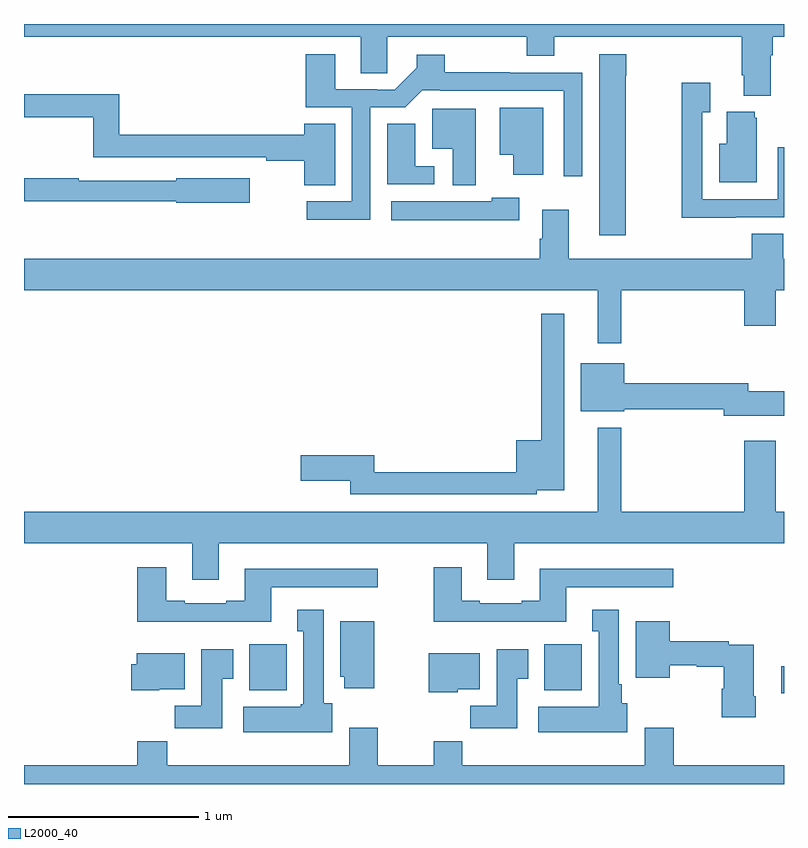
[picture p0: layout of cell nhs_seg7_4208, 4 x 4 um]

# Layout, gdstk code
import gdstk
lib = gdstk.Library(unit=1e-6, precision=1e-09)
def R(c, l, rs):  # rectangles x0, y0, x1, y1
    for r in rs: c.add(gdstk.rectangle(r[:2], r[2:], *l))
def P(c, l, *ps):  # polygons
    for p in ps: c.add(gdstk.Polygon(p, *l))
L2000_40 = (2000, 40)

nhs_seg7_4208 = lib.new_cell('nhs_seg7_4208')
R(nhs_seg7_4208, L2000_40, [(380.985,1014.478,381,1014.62), (378.185,1014.494,378.382,1014.736), (379.739,1014.494,379.936,1014.736)])
P(nhs_seg7_4208, L2000_40, [(380.929,1017.836),(380.942,1017.836),(380.942,1017.932),(381,1017.932),(381,1018),(377,1018),(377,1017.932),(378.773,1017.932),(378.773,1017.742),(378.912,1017.742),(378.912,1017.932),(379.645,1017.932),(379.645,1017.833),(379.792,1017.833),(379.792,1017.932),(380.777,1017.932),(380.777,1017.73),(380.789,1017.73),(380.789,1017.623),(380.929,1017.623)],
  [(378.822,1017.561),(379.006,1017.561),(379.096,1017.651),(379.192,1017.651),(379.192,1017.648),(379.842,1017.648),(379.842,1017.198),(379.938,1017.198),(379.938,1017.744),(379.556,1017.744),(379.556,1017.746),(379.215,1017.746),(379.215,1017.838),(379.067,1017.838),(379.067,1017.77),(378.951,1017.654),(378.857,1017.654),(378.857,1017.657),(378.637,1017.657),(378.637,1017.841),(378.482,1017.841),(378.482,1017.561),(378.726,1017.561),(378.726,1017.066),(378.489,1017.066),(378.489,1016.969),(378.822,1016.969)],
  [(380.166,1017.728),(380.171,1017.728),(380.171,1017.841),(380.027,1017.841),(380.027,1016.889),(380.166,1016.889)],
  [(380.747,1016.982),(381,1016.982),(381,1017.352),(380.967,1017.352),(380.967,1017.078),(380.571,1017.078),(380.571,1017.535),(380.611,1017.535),(380.611,1017.691),(380.463,1017.691),(380.463,1016.981),(380.747,1016.981)],
  [(378.637,1017.476),(378.476,1017.476),(378.476,1017.416),(377.501,1017.416),(377.501,1017.631),(377,1017.631),(377,1017.51),(377.365,1017.51),(377.365,1017.3),(378.274,1017.3),(378.274,1017.28),(378.476,1017.28),(378.476,1017.151),(378.637,1017.151)],
  [(379.732,1017.559),(379.505,1017.559),(379.505,1017.311),(379.574,1017.311),(379.574,1017.207),(379.732,1017.207)],
  [(379.378,1017.553),(379.148,1017.553),(379.148,1017.344),(379.256,1017.344),(379.256,1017.152),(379.378,1017.152)],
  [(380.857,1017.507),(380.846,1017.507),(380.846,1017.538),(380.699,1017.538),(380.699,1017.37),(380.66,1017.37),(380.66,1017.167),(380.857,1017.167)],
  [(379.159,1017.252),(379.06,1017.252),(379.06,1017.476),(378.911,1017.476),(378.911,1017.156),(379.159,1017.156)],
  [(378.187,1017.187),(377.802,1017.187),(377.802,1017.174),(377.288,1017.174),(377.288,1017.187),(377,1017.187),(377,1017.066),(377.802,1017.066),(377.802,1017.058),(378.187,1017.058)],
  [(379.606,1017.085),(379.461,1017.085),(379.461,1017.067),(378.933,1017.067),(378.933,1016.966),(379.606,1016.966)],
  [(380.143,1016.6),(380.792,1016.6),(380.792,1016.412),(380.956,1016.412),(380.956,1016.6),(381,1016.6),(381,1016.764),(380.996,1016.764),(380.996,1016.897),(380.831,1016.897),(380.831,1016.764),(379.867,1016.764),(379.867,1017.022),(379.727,1017.022),(379.727,1016.87),(379.715,1016.87),(379.715,1016.764),(377,1016.764),(377,1016.6),(380.021,1016.6),(380.021,1016.319),(380.143,1016.319)],
  [(379.698,1015.547),(379.843,1015.547),(379.843,1016.476),(379.722,1016.476),(379.722,1015.81),(379.592,1015.81),(379.592,1015.64),(378.844,1015.64),(378.844,1015.73),(378.456,1015.73),(378.456,1015.595),(378.716,1015.595),(378.716,1015.524),(379.698,1015.524)],
  [(381,1016.067),(380.812,1016.067),(380.812,1016.108),(380.158,1016.108),(380.158,1016.215),(379.931,1016.215),(379.931,1015.961),(380.158,1015.961),(380.158,1015.972),(380.684,1015.972),(380.684,1015.937),(381,1015.937)],
  [(378.025,1015.268),(379.439,1015.268),(379.439,1015.074),(379.579,1015.074),(379.579,1015.268),(381,1015.268),(381,1015.432),(380.956,1015.432),(380.956,1015.807),(380.792,1015.807),(380.792,1015.432),(380.143,1015.432),(380.143,1015.876),(380.021,1015.876),(380.021,1015.432),(377,1015.432),(377,1015.268),(377.885,1015.268),(377.885,1015.074),(378.025,1015.074)],
  [(379.855,1015.035),(380.416,1015.035),(380.416,1015.132),(379.715,1015.132),(379.715,1014.964),(379.619,1014.964),(379.619,1014.951),(379.399,1014.951),(379.399,1014.964),(379.303,1014.964),(379.303,1015.141),(379.156,1015.141),(379.156,1014.854),(379.855,1014.854)],
  [(378.301,1015.035),(378.862,1015.035),(378.862,1015.132),(378.161,1015.132),(378.161,1014.964),(378.065,1014.964),(378.065,1014.951),(377.845,1014.951),(377.845,1014.964),(377.749,1014.964),(377.749,1015.141),(377.597,1015.141),(377.597,1014.854),(378.301,1014.854)],
  [(378.622,1014.426),(378.577,1014.426),(378.577,1014.916),(378.437,1014.916),(378.437,1014.803),(378.47,1014.803),(378.47,1014.42),(378.457,1014.42),(378.457,1014.406),(378.153,1014.406),(378.153,1014.272),(378.622,1014.272)],
  [(380.176,1014.426),(380.146,1014.426),(380.146,1014.526),(380.131,1014.526),(380.131,1014.916),(379.991,1014.916),(379.991,1014.803),(380.024,1014.803),(380.024,1014.406),(379.707,1014.406),(379.707,1014.272),(380.176,1014.272)],
  [(380.85,1014.463),(380.842,1014.463),(380.842,1014.732),(380.708,1014.732),(380.708,1014.752),(380.398,1014.752),(380.398,1014.856),(380.219,1014.856),(380.219,1014.56),(380.398,1014.56),(380.398,1014.624),(380.541,1014.624),(380.541,1014.616),(380.684,1014.616),(380.684,1014.501),(380.672,1014.501),(380.672,1014.351),(380.85,1014.351)],
  [(378.844,1014.856),(378.665,1014.856),(378.665,1014.564),(378.686,1014.564),(378.686,1014.504),(378.844,1014.504)],
  [(379.597,1014.553),(379.654,1014.553),(379.654,1014.709),(379.487,1014.709),(379.487,1014.412),(379.348,1014.412),(379.348,1014.294),(379.597,1014.294)],
  [(378.043,1014.553),(378.1,1014.553),(378.1,1014.709),(377.933,1014.709),(377.933,1014.412),(377.794,1014.412),(377.794,1014.294),(378.043,1014.294)],
  [(379.284,1014.5),(379.399,1014.5),(379.399,1014.688),(379.13,1014.688),(379.13,1014.482),(379.284,1014.482)],
  [(377.712,1014.5),(377.845,1014.5),(377.845,1014.688),(377.594,1014.688),(377.594,1014.63),(377.564,1014.63),(377.564,1014.494),(377.712,1014.494)],
  [(377.753,1014.224),(377.597,1014.224),(377.597,1014.1),(377,1014.1),(377,1014),(381,1014),(381,1014.1),(380.42,1014.1),(380.42,1014.295),(380.267,1014.295),(380.267,1014.1),(379.307,1014.1),(379.307,1014.224),(379.156,1014.224),(379.156,1014.1),(378.861,1014.1),(378.861,1014.295),(378.713,1014.295),(378.713,1014.1),(377.753,1014.1)])

lib.write_gds('nhs_seg7_4208.gds')
